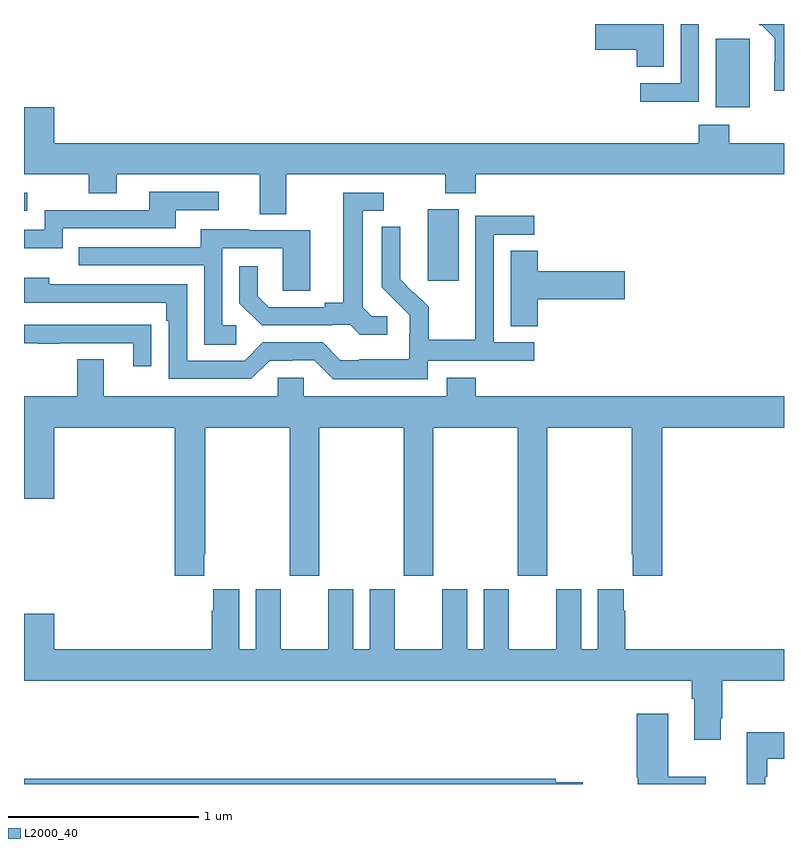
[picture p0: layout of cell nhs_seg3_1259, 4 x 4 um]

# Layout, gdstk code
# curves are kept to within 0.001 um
import gdstk
lib = gdstk.Library(unit=1e-6, precision=1e-09)
def R(c, l, rs):  # rectangles x0, y0, x1, y1
    for r in rs: c.add(gdstk.rectangle(r[:2], r[2:], *l))
def P(c, l, *ps):  # polygons
    for p in ps: c.add(gdstk.Polygon(p, *l))
L2000_40 = (2000, 40)

nhs_seg3_1259 = lib.new_cell('nhs_seg3_1259')
R(nhs_seg3_1259, L2000_40, [(179.126,675.048,179.287,675.424), (177,675.417,177.016,675.513), (180.641,675.962,180.82,676.323)])
P(nhs_seg3_1259, L2000_40, [(180.367,676.4),(180.006,676.4),(180.006,676.265),(180.224,676.265),(180.224,676.174),(180.367,676.174)],
  [(181,676.4),(180.868,676.4),(180.876,676.392),(180.879,676.395),(180.95,676.325),(180.95,676.202),(180.948,676.202),(180.948,676.048),(181,676.048)],
  [(180.552,676.4),(180.456,676.4),(180.456,676.089),(180.243,676.089),(180.243,675.991),(180.552,675.991)],
  [(178.381,675.608),(179.218,675.608),(179.218,675.509),(179.378,675.509),(179.378,675.608),(181,675.608),(181,675.772),(180.711,675.772),(180.711,675.871),(180.551,675.871),(180.551,675.772),(177.16,675.772),(177.16,675.961),(177,675.961),(177,675.608),(177.34,675.608),(177.34,675.509),(177.487,675.509),(177.487,675.608),(178.241,675.608),(178.241,675.4),(178.381,675.4)],
  [(177.204,675.324),(177.799,675.324),(177.799,675.42),(178.024,675.42),(178.024,675.516),(177.659,675.516),(177.659,675.42),(177.108,675.42),(177.108,675.318),(177,675.318),(177,675.221),(177.204,675.221)],
  [(178.912,674.862),(178.83,674.862),(178.783,674.909),(178.783,675.417),(178.894,675.417),(178.894,675.513),(178.679,675.513),(178.679,674.933),(178.583,674.933),(178.583,674.91),(178.288,674.91),(178.231,674.967),(178.231,675.124),(178.134,675.124),(178.134,674.93),(178.25,674.814),(178.622,674.814),(178.622,674.817),(178.716,674.817),(178.768,674.765),(178.912,674.765)],
  [(179.124,674.628),(179.686,674.628),(179.686,674.724),(179.472,674.724),(179.472,675.291),(179.686,675.291),(179.686,675.39),(179.376,675.39),(179.376,674.96),(179.374,674.96),(179.374,674.737),(179.129,674.737),(179.129,674.911),(179.052,674.988),(179.049,674.985),(178.979,675.056),(178.979,675.16),(178.981,675.16),(178.981,675.332),(178.884,675.332),(178.884,675.014),(179.03,674.866),(179.03,674.769),(179.028,674.769),(179.028,674.635),(178.765,674.635),(178.765,674.631),(178.665,674.631),(178.572,674.724),(178.257,674.724),(178.161,674.628),(177.858,674.628),(177.858,675.03),(177.134,675.03),(177.134,675.064),(177,675.064),(177,674.934),(177.749,674.934),(177.749,674.837),(177.762,674.837),(177.762,674.532),(178.197,674.532),(178.293,674.628),(178.412,674.628),(178.412,674.631),(178.527,674.631),(178.627,674.531),(179.124,674.531)],
  [(178.117,674.814),(178.044,674.814),(178.044,675.219),(178.362,675.219),(178.362,674.995),(178.507,674.995),(178.507,675.315),(178.183,675.315),(178.183,675.319),(177.929,675.319),(177.929,675.225),(177.289,675.225),(177.289,675.129),(177.948,675.129),(177.948,674.713),(178.117,674.713)],
  [(179.705,674.951),(180.163,674.951),(180.163,675.098),(179.705,675.098),(179.705,675.206),(179.561,675.206),(179.561,674.809),(179.705,674.809)],
  [(177.671,674.816),(177.569,674.816),(177.569,674.817),(177,674.817),(177,674.721),(177.073,674.721),(177.073,674.716),(177.185,674.716),(177.185,674.721),(177.575,674.721),(177.575,674.598),(177.671,674.598)],
  [(177.794,673.497),(177.949,673.497),(177.949,673.609),(177.954,673.609),(177.954,674.276),(178.399,674.276),(178.399,673.497),(178.554,673.497),(178.554,674.276),(178.999,674.276),(178.999,673.497),(179.154,673.497),(179.154,674.276),(179.599,674.276),(179.599,673.497),(179.754,673.497),(179.754,674.276),(180.199,674.276),(180.199,673.609),(180.203,673.609),(180.203,673.497),(180.359,673.497),(180.359,674.276),(181,674.276),(181,674.44),(179.378,674.44),(179.378,674.539),(179.225,674.539),(179.225,674.44),(178.473,674.44),(178.473,674.538),(178.335,674.538),(178.335,674.44),(177.421,674.44),(177.421,674.635),(177.281,674.635),(177.281,674.44),(177,674.44),(177,673.902),(177.16,673.902),(177.16,674.276),(177.794,674.276)],
  [(180.164,673.313),(180.157,673.313),(180.157,673.426),(180.02,673.426),(180.02,673.108),(179.932,673.108),(179.932,673.426),(179.801,673.426),(179.801,673.108),(179.551,673.108),(179.551,673.426),(179.42,673.426),(179.42,673.108),(179.332,673.108),(179.332,673.426),(179.201,673.426),(179.201,673.108),(178.951,673.108),(178.951,673.426),(178.82,673.426),(178.82,673.108),(178.732,673.108),(178.732,673.426),(178.601,673.426),(178.601,673.108),(178.351,673.108),(178.351,673.426),(178.22,673.426),(178.22,673.108),(178.132,673.108),(178.132,673.426),(177.995,673.426),(177.995,673.313),(177.989,673.313),(177.989,673.108),(177.16,673.108),(177.16,673.297),(177,673.297),(177,672.944),(180.515,672.944),(180.515,672.848),(180.527,672.848),(180.527,672.633),(180.667,672.633),(180.667,672.745),(180.675,672.745),(180.675,672.944),(181,672.944),(181,673.108),(180.164,673.108)],
  [(180.589,672.439),(180.391,672.439),(180.391,672.769),(180.224,672.769),(180.224,672.435),(180.229,672.435),(180.229,672.4),(180.589,672.4)],
  [(180.9,672.437),(180.913,672.437),(180.913,672.533),(181,672.533),(181,672.673),(180.803,672.673),(180.803,672.4),(180.9,672.4)],
  [(179.94,672.408),(179.798,672.408),(179.798,672.428),(177,672.428),(177,672.4),(179.94,672.4)])

lib.write_gds('nhs_seg3_1259.gds')
